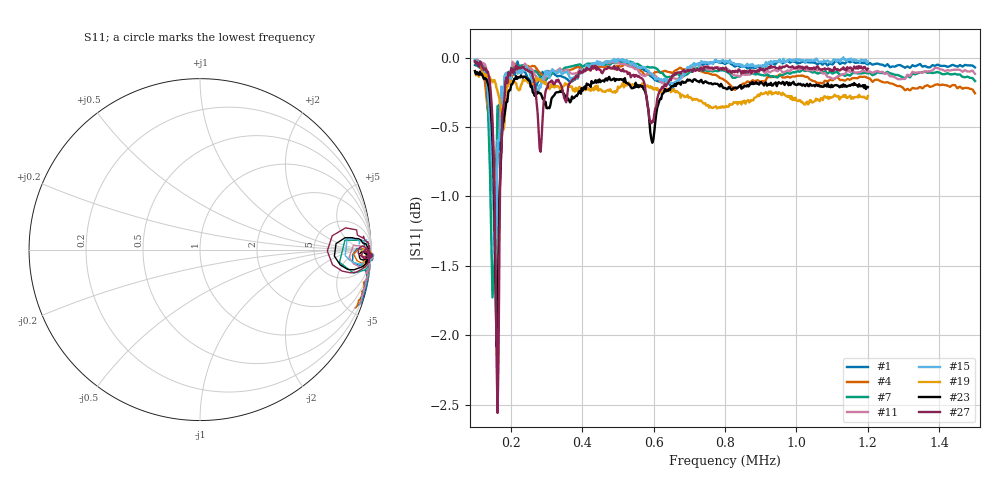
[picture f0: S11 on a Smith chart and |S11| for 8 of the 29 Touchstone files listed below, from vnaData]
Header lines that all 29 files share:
!Data & Calibration Information:
!Freq	S11:SOLT1(ON)
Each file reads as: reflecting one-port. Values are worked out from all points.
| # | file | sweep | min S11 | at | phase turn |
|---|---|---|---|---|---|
| 1 | 1.S1P | 100 kHz to 1.5 MHz | -1.0 dB | 156 kHz | -16 deg |
| 2 | 01.S1P | 100 kHz to 1.5 MHz | -1.5 dB | 156 kHz | -16 deg |
| 3 | 001.S1P | 100 kHz to 1.5 MHz | -1.3 dB | 156 kHz | -3 deg |
| 4 | 2.S1P | 100 kHz to 1.5 MHz | -0.9 dB | 156 kHz | -18 deg |
| 5 | 2ML3_3.S1P | 100 kHz to 1.2 MHz | -2.7 dB | 160.3 kHz | -3 deg |
| 6 | 3.S1P | 100 kHz to 1.5 MHz | -1.4 dB | 149 kHz | -16 deg |
| 7 | 4.S1P | 100 kHz to 1.5 MHz | -1.7 dB | 149 kHz | -16 deg |
| 8 | 5.S1P | 100 kHz to 1.5 MHz | -1.0 dB | 163 kHz | -17 deg |
| 9 | 6.S1P | 100 kHz to 1.5 MHz | -1.8 dB | 156 kHz | -16 deg |
| 10 | 7.S1P | 100 kHz to 1.5 MHz | -1.0 dB | 163 kHz | -16 deg |
| 11 | 8.S1P | 100 kHz to 1.5 MHz | -1.2 dB | 163 kHz | -16 deg |
| 12 | 9.S1P | 100 kHz to 1.5 MHz | -0.7 dB | 156 kHz | -17 deg |
| 13 | 11.S1P | 100 kHz to 1.5 MHz | -1.2 dB | 156 kHz | -16 deg |
| 14 | 111.S1P | 100 kHz to 1.5 MHz | -1.0 dB | 156 kHz | -16 deg |
| 15 | ML2_1.S1P | 100 kHz to 1.2 MHz | -1.4 dB | 154.9 kHz | -2 deg |
| 16 | ML2_2.S1P | 100 kHz to 1.2 MHz | -1.5 dB | 154.9 kHz | -2 deg |
| 17 | ML2_3.S1P | 100 kHz to 1.2 MHz | -1.3 dB | 154.9 kHz | -2 deg |
| 18 | ML3_1.S1P | 100 kHz to 1.2 MHz | -0.6 dB | 179.6 kHz | -5 deg |
| 19 | ML3_2.S1P | 100 kHz to 1.2 MHz | -0.5 dB | 179.6 kHz | -5 deg |
| 20 | ML3_3.S1P | 100 kHz to 1.2 MHz | -0.5 dB | 179.6 kHz | -5 deg |
| 21 | ML5_1.S1P | 100 kHz to 1.2 MHz | -1.9 dB | 160.3 kHz | -3 deg |
| 22 | ML5_2.S1P | 100 kHz to 1.2 MHz | -2.0 dB | 163.1 kHz | -3 deg |
| 23 | ML5_3.S1P | 100 kHz to 1.2 MHz | -2.1 dB | 160.3 kHz | -3 deg |
| 24 | MLCURED1_1.S1P | 100 kHz to 1.2 MHz | -1.4 dB | 160.3 kHz | -3 deg |
| 25 | MLCURED1_2.S1P | 100 kHz to 1.2 MHz | -1.4 dB | 163.1 kHz | -3 deg |
| 26 | MLCURED1_3.S1P | 100 kHz to 1.2 MHz | -1.3 dB | 163.1 kHz | -3 deg |
| 27 | NML_1.S1P | 100 kHz to 1.2 MHz | -2.6 dB | 163.1 kHz | -2 deg |
| 28 | NML_2.S1P | 100 kHz to 1.2 MHz | -2.6 dB | 163.1 kHz | -2 deg |
| 29 | NML_3.S1P | 100 kHz to 1.2 MHz | -2.6 dB | 163.1 kHz | -2 deg |
